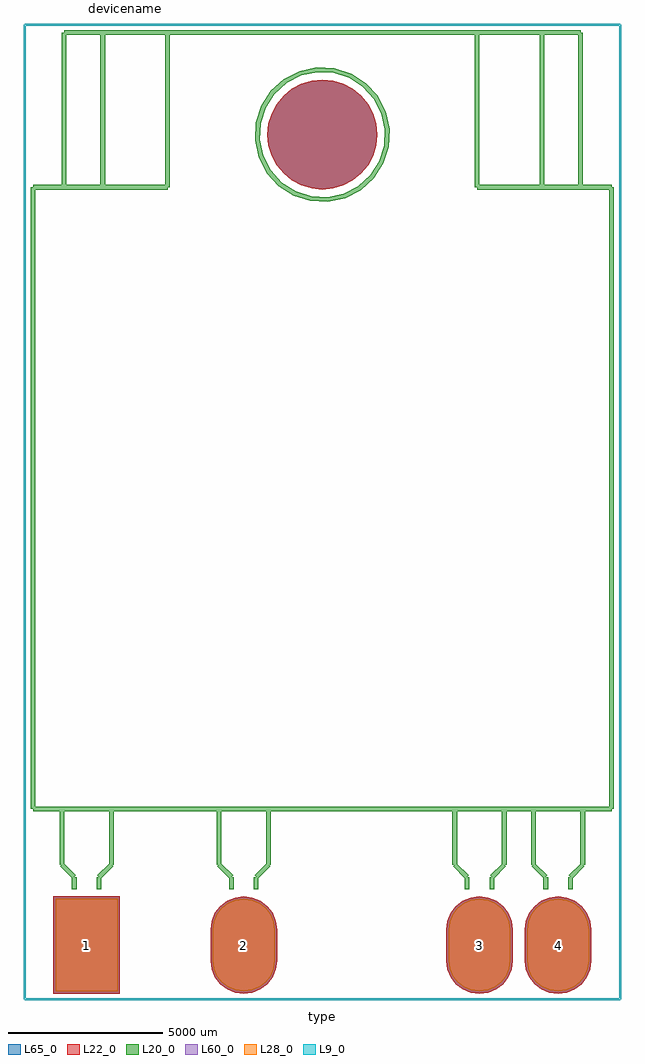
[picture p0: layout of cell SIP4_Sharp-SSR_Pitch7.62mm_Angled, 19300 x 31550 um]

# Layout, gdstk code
import gdstk
lib = gdstk.Library(unit=1e-6, precision=1e-09)
def R(c, l, rs):  # rectangles x0, y0, x1, y1
    for r in rs: c.add(gdstk.rectangle(r[:2], r[2:], *l))
def P(c, l, *ps):  # polygons
    for p in ps: c.add(gdstk.Polygon(p, *l))
L9_0 = (9, 0)
L20_0 = (20, 0)
L22_0 = (22, 0)
L28_0 = (28, 0)
L60_0 = (60, 0)
L65_0 = (65, 0)

sip4_sharp_ssr_pitch7_62 = lib.new_cell('SIP4_Sharp-SSR_Pitch7.62mm_Angled')
R(sip4_sharp_ssr_pitch7_62, L22_0, [(-1075,-1575,1075,1575)])
P(sip4_sharp_ssr_pitch7_62, L22_0, [(9395,26200),(9360.894,26546.285),(9259.886,26879.263),(9095.859,27186.137),(8875.115,27455.115),(8606.137,27675.859),(8299.263,27839.886),(7966.285,27940.894),(7620,27975),(7273.715,27940.894),(6940.737,27839.886),(6633.863,27675.859),(6364.885,27455.115),(6144.141,27186.137),(5980.114,26879.263),(5879.106,26546.285),(5845,26200),(5879.106,25853.715),(5980.114,25520.737),(6144.141,25213.863),(6364.885,24944.885),(6633.863,24724.141),(6940.737,24560.114),(7273.715,24459.106),(7620,24425),(7966.285,24459.106),(8299.263,24560.114),(8606.137,24724.141),(8875.115,24944.885),(9095.859,25213.863),(9259.886,25520.737),(9360.894,25853.715)],
  [(15240,-1575),(15518.23,-1538.37),(15777.5,-1430.977),(16000.14,-1260.14),(16170.977,-1037.5),(16278.37,-778.23),(16315,-500),(16315,500),(16278.37,778.23),(16170.977,1037.5),(16000.14,1260.14),(15777.5,1430.977),(15518.23,1538.37),(15240,1575),(14961.77,1538.37),(14702.5,1430.977),(14479.86,1260.14),(14309.023,1037.5),(14201.63,778.23),(14165,500),(14165,-500),(14201.63,-778.23),(14309.023,-1037.5),(14479.86,-1260.14),(14702.5,-1430.977),(14961.77,-1538.37)],
  [(12700,-1575),(12978.23,-1538.37),(13237.5,-1430.977),(13460.14,-1260.14),(13630.977,-1037.5),(13738.37,-778.23),(13775,-500),(13775,500),(13738.37,778.23),(13630.977,1037.5),(13460.14,1260.14),(13237.5,1430.977),(12978.23,1538.37),(12700,1575),(12421.77,1538.37),(12162.5,1430.977),(11939.86,1260.14),(11769.023,1037.5),(11661.63,778.23),(11625,500),(11625,-500),(11661.63,-778.23),(11769.023,-1037.5),(11939.86,-1260.14),(12162.5,-1430.977),(12421.77,-1538.37)],
  [(5080,-1575),(5358.23,-1538.37),(5617.5,-1430.977),(5840.14,-1260.14),(6010.977,-1037.5),(6118.37,-778.23),(6155,-500),(6155,500),(6118.37,778.23),(6010.977,1037.5),(5840.14,1260.14),(5617.5,1430.977),(5358.23,1538.37),(5080,1575),(4801.77,1538.37),(4542.5,1430.977),(4319.86,1260.14),(4149.023,1037.5),(4041.63,778.23),(4005,500),(4005,-500),(4041.63,-778.23),(4149.023,-1037.5),(4319.86,-1260.14),(4542.5,-1430.977),(4801.77,-1538.37)])
R(sip4_sharp_ssr_pitch7_62, L28_0, [(-1000,-1500,1000,1500)])
P(sip4_sharp_ssr_pitch7_62, L28_0, [(15240,-1500),(15498.819,-1465.926),(15740,-1366.025),(15947.107,-1207.107),(16106.025,-1000),(16205.926,-758.819),(16240,-500),(16240,500),(16205.926,758.819),(16106.025,1000),(15947.107,1207.107),(15740,1366.025),(15498.819,1465.926),(15240,1500),(14981.181,1465.926),(14740,1366.025),(14532.893,1207.107),(14373.975,1000),(14274.074,758.819),(14240,500),(14240,-500),(14274.074,-758.819),(14373.975,-1000),(14532.893,-1207.107),(14740,-1366.025),(14981.181,-1465.926)],
  [(12700,-1500),(12958.819,-1465.926),(13200,-1366.025),(13407.107,-1207.107),(13566.025,-1000),(13665.926,-758.819),(13700,-500),(13700,500),(13665.926,758.819),(13566.025,1000),(13407.107,1207.107),(13200,1366.025),(12958.819,1465.926),(12700,1500),(12441.181,1465.926),(12200,1366.025),(11992.893,1207.107),(11833.975,1000),(11734.074,758.819),(11700,500),(11700,-500),(11734.074,-758.819),(11833.975,-1000),(11992.893,-1207.107),(12200,-1366.025),(12441.181,-1465.926)],
  [(5080,-1500),(5338.819,-1465.926),(5580,-1366.025),(5787.107,-1207.107),(5946.025,-1000),(6045.926,-758.819),(6080,-500),(6080,500),(6045.926,758.819),(5946.025,1000),(5787.107,1207.107),(5580,1366.025),(5338.819,1465.926),(5080,1500),(4821.181,1465.926),(4580,1366.025),(4372.893,1207.107),(4213.975,1000),(4114.074,758.819),(4080,500),(4080,-500),(4114.074,-758.819),(4213.975,-1000),(4372.893,-1207.107),(4580,-1366.025),(4821.181,-1465.926)])
R(sip4_sharp_ssr_pitch7_62, L60_0, [(-1000,-1500,1000,1500)])
P(sip4_sharp_ssr_pitch7_62, L60_0, [(15240,-1500),(15498.819,-1465.926),(15740,-1366.025),(15947.107,-1207.107),(16106.025,-1000),(16205.926,-758.819),(16240,-500),(16240,500),(16205.926,758.819),(16106.025,1000),(15947.107,1207.107),(15740,1366.025),(15498.819,1465.926),(15240,1500),(14981.181,1465.926),(14740,1366.025),(14532.893,1207.107),(14373.975,1000),(14274.074,758.819),(14240,500),(14240,-500),(14274.074,-758.819),(14373.975,-1000),(14532.893,-1207.107),(14740,-1366.025),(14981.181,-1465.926)],
  [(12700,-1500),(12958.819,-1465.926),(13200,-1366.025),(13407.107,-1207.107),(13566.025,-1000),(13665.926,-758.819),(13700,-500),(13700,500),(13665.926,758.819),(13566.025,1000),(13407.107,1207.107),(13200,1366.025),(12958.819,1465.926),(12700,1500),(12441.181,1465.926),(12200,1366.025),(11992.893,1207.107),(11833.975,1000),(11734.074,758.819),(11700,500),(11700,-500),(11734.074,-758.819),(11833.975,-1000),(11992.893,-1207.107),(12200,-1366.025),(12441.181,-1465.926)],
  [(5080,-1500),(5338.819,-1465.926),(5580,-1366.025),(5787.107,-1207.107),(5946.025,-1000),(6045.926,-758.819),(6080,-500),(6080,500),(6045.926,758.819),(5946.025,1000),(5787.107,1207.107),(5580,1366.025),(5338.819,1465.926),(5080,1500),(4821.181,1465.926),(4580,1366.025),(4372.893,1207.107),(4213.975,1000),(4114.074,758.819),(4080,500),(4080,-500),(4114.074,-758.819),(4213.975,-1000),(4372.893,-1207.107),(4580,-1366.025),(4821.181,-1465.926)])
R(sip4_sharp_ssr_pitch7_62, L65_0, [(-1075,-1575,1075,1575)])
P(sip4_sharp_ssr_pitch7_62, L65_0, [(9395,26200),(9360.894,26546.285),(9259.886,26879.263),(9095.859,27186.137),(8875.115,27455.115),(8606.137,27675.859),(8299.263,27839.886),(7966.285,27940.894),(7620,27975),(7273.715,27940.894),(6940.737,27839.886),(6633.863,27675.859),(6364.885,27455.115),(6144.141,27186.137),(5980.114,26879.263),(5879.106,26546.285),(5845,26200),(5879.106,25853.715),(5980.114,25520.737),(6144.141,25213.863),(6364.885,24944.885),(6633.863,24724.141),(6940.737,24560.114),(7273.715,24459.106),(7620,24425),(7966.285,24459.106),(8299.263,24560.114),(8606.137,24724.141),(8875.115,24944.885),(9095.859,25213.863),(9259.886,25520.737),(9360.894,25853.715)],
  [(15240,-1575),(15518.23,-1538.37),(15777.5,-1430.977),(16000.14,-1260.14),(16170.977,-1037.5),(16278.37,-778.23),(16315,-500),(16315,500),(16278.37,778.23),(16170.977,1037.5),(16000.14,1260.14),(15777.5,1430.977),(15518.23,1538.37),(15240,1575),(14961.77,1538.37),(14702.5,1430.977),(14479.86,1260.14),(14309.023,1037.5),(14201.63,778.23),(14165,500),(14165,-500),(14201.63,-778.23),(14309.023,-1037.5),(14479.86,-1260.14),(14702.5,-1430.977),(14961.77,-1538.37)],
  [(12700,-1575),(12978.23,-1538.37),(13237.5,-1430.977),(13460.14,-1260.14),(13630.977,-1037.5),(13738.37,-778.23),(13775,-500),(13775,500),(13738.37,778.23),(13630.977,1037.5),(13460.14,1260.14),(13237.5,1430.977),(12978.23,1538.37),(12700,1575),(12421.77,1538.37),(12162.5,1430.977),(11939.86,1260.14),(11769.023,1037.5),(11661.63,778.23),(11625,500),(11625,-500),(11661.63,-778.23),(11769.023,-1037.5),(11939.86,-1260.14),(12162.5,-1430.977),(12421.77,-1538.37)],
  [(5080,-1575),(5358.23,-1538.37),(5617.5,-1430.977),(5840.14,-1260.14),(6010.977,-1037.5),(6118.37,-778.23),(6155,-500),(6155,500),(6118.37,778.23),(6010.977,1037.5),(5840.14,1260.14),(5617.5,1430.977),(5358.23,1538.37),(5080,1575),(4801.77,1538.37),(4542.5,1430.977),(4319.86,1260.14),(4149.023,1037.5),(4041.63,778.23),(4005,500),(4005,-500),(4041.63,-778.23),(4149.023,-1037.5),(4319.86,-1260.14),(4542.5,-1430.977),(4801.77,-1538.37)])
sip4_sharp_ssr_pitch7_62.add(gdstk.FlexPath([(-1730,4400),(-1730,24500)], 149.998, ends="flush", simple_path=True, layer=20, datatype=0))  # L20_0
sip4_sharp_ssr_pitch7_62.add(gdstk.FlexPath([(16970,4400),(-1730,4400)], 149.998, ends="flush", simple_path=True, layer=20, datatype=0))  # L20_0
sip4_sharp_ssr_pitch7_62.add(gdstk.FlexPath([(16970,24500),(16970,4400)], 149.998, ends="flush", simple_path=True, layer=20, datatype=0))  # L20_0
sip4_sharp_ssr_pitch7_62.add(gdstk.FlexPath([(-730,29500),(15970,29500)], 149.998, ends="flush", simple_path=True, layer=20, datatype=0))  # L20_0
sip4_sharp_ssr_pitch7_62.add(gdstk.FlexPath([(-1730,24500),(2620,24500)], 149.998, ends="flush", simple_path=True, layer=20, datatype=0))  # L20_0
sip4_sharp_ssr_pitch7_62.add(gdstk.FlexPath([(15970,24500),(15970,29500)], 149.998, ends="flush", simple_path=True, layer=20, datatype=0))  # L20_0
sip4_sharp_ssr_pitch7_62.add(gdstk.FlexPath([(-730,24500),(-730,29500)], 149.998, ends="flush", simple_path=True, layer=20, datatype=0))  # L20_0
sip4_sharp_ssr_pitch7_62.add(gdstk.FlexPath([(-2000,29750),(17250,29750)], 50, ends="flush", simple_path=True, layer=9, datatype=0))  # L9_0
sip4_sharp_ssr_pitch7_62.add(gdstk.FlexPath([(-2000,-1750),(-2000,29750)], 50, ends="flush", simple_path=True, layer=9, datatype=0))  # L9_0
sip4_sharp_ssr_pitch7_62.add(gdstk.FlexPath([(17250,-1750),(-2000,-1750)], 50, ends="flush", simple_path=True, layer=9, datatype=0))  # L9_0
sip4_sharp_ssr_pitch7_62.add(gdstk.FlexPath([(17250,29750),(17250,-1750)], 50, ends="flush", simple_path=True, layer=9, datatype=0))  # L9_0
sip4_sharp_ssr_pitch7_62.add(gdstk.FlexPath([(12620,29500),(12620,24500)], 149.998, ends="flush", simple_path=True, layer=20, datatype=0))  # L20_0
sip4_sharp_ssr_pitch7_62.add(gdstk.FlexPath([(2620,29500),(2620,24500)], 149.998, ends="flush", simple_path=True, layer=20, datatype=0))  # L20_0
sip4_sharp_ssr_pitch7_62.add(gdstk.FlexPath([(9350,27400),(8980.469,27806.868),(8518.224,28104.23),(7994.767,28271.823),(7445.77,28298.224),(6908.646,28181.635),(6420,27930),(6013.132,27560.469),(5715.77,27098.224),(5548.177,26574.767),(5521.776,26025.77),(5638.365,25488.646),(5890,25000),(6259.531,24593.132),(6721.776,24295.77),(7245.233,24128.177),(7794.23,24101.776),(8331.354,24218.365),(8820,24470),(9226.868,24839.531),(9524.23,25301.776),(9691.823,25825.233),(9718.224,26374.23),(9601.635,26911.354),(9350,27400)], 149.998, ends="flush", simple_path=True, layer=20, datatype=0))  # L20_0
sip4_sharp_ssr_pitch7_62.add(gdstk.FlexPath([(12620,24500),(16970,24500)], 149.998, ends="flush", simple_path=True, layer=20, datatype=0))  # L20_0
sip4_sharp_ssr_pitch7_62.add(gdstk.FlexPath([(14720,24500),(14720,29500)], 149.998, ends="flush", simple_path=True, layer=20, datatype=0))  # L20_0
sip4_sharp_ssr_pitch7_62.add(gdstk.FlexPath([(520,24500),(520,29500)], 149.998, ends="flush", simple_path=True, layer=20, datatype=0))  # L20_0
sip4_sharp_ssr_pitch7_62.add(gdstk.FlexPath([(-800,3200),(-800,4400)], 149.998, ends="flush", simple_path=True, layer=20, datatype=0))  # L20_0
sip4_sharp_ssr_pitch7_62.add(gdstk.FlexPath([(400,2200),(800,2600)], 149.998, ends="flush", simple_path=True, layer=20, datatype=0))  # L20_0
sip4_sharp_ssr_pitch7_62.add(gdstk.FlexPath([(-800,2600),(-800,3200)], 149.998, ends="flush", simple_path=True, layer=20, datatype=0))  # L20_0
sip4_sharp_ssr_pitch7_62.add(gdstk.FlexPath([(-400,2200),(-800,2600)], 149.998, ends="flush", simple_path=True, layer=20, datatype=0))  # L20_0
sip4_sharp_ssr_pitch7_62.add(gdstk.FlexPath([(-400,2200),(-400,1800)], 149.998, ends="flush", simple_path=True, layer=20, datatype=0))  # L20_0
sip4_sharp_ssr_pitch7_62.add(gdstk.FlexPath([(400,1800),(400,2200)], 149.998, ends="flush", simple_path=True, layer=20, datatype=0))  # L20_0
sip4_sharp_ssr_pitch7_62.add(gdstk.FlexPath([(800,2600),(800,4400)], 149.998, ends="flush", simple_path=True, layer=20, datatype=0))  # L20_0
sip4_sharp_ssr_pitch7_62.add(gdstk.FlexPath([(800,2600),(800,4400)], 149.998, ends="flush", simple_path=True, layer=20, datatype=0))  # L20_0
sip4_sharp_ssr_pitch7_62.add(gdstk.FlexPath([(400,1800),(400,2200)], 149.998, ends="flush", simple_path=True, layer=20, datatype=0))  # L20_0
sip4_sharp_ssr_pitch7_62.add(gdstk.FlexPath([(-400,2200),(-400,1800)], 149.998, ends="flush", simple_path=True, layer=20, datatype=0))  # L20_0
sip4_sharp_ssr_pitch7_62.add(gdstk.FlexPath([(-400,2200),(-800,2600)], 149.998, ends="flush", simple_path=True, layer=20, datatype=0))  # L20_0
sip4_sharp_ssr_pitch7_62.add(gdstk.FlexPath([(-800,2600),(-800,3200)], 149.998, ends="flush", simple_path=True, layer=20, datatype=0))  # L20_0
sip4_sharp_ssr_pitch7_62.add(gdstk.FlexPath([(400,2200),(800,2600)], 149.998, ends="flush", simple_path=True, layer=20, datatype=0))  # L20_0
sip4_sharp_ssr_pitch7_62.add(gdstk.FlexPath([(-800,3200),(-800,4400)], 149.998, ends="flush", simple_path=True, layer=20, datatype=0))  # L20_0
sip4_sharp_ssr_pitch7_62.add(gdstk.FlexPath([(4280,3200),(4280,4400)], 149.998, ends="flush", simple_path=True, layer=20, datatype=0))  # L20_0
sip4_sharp_ssr_pitch7_62.add(gdstk.FlexPath([(5480,2200),(5880,2600)], 149.998, ends="flush", simple_path=True, layer=20, datatype=0))  # L20_0
sip4_sharp_ssr_pitch7_62.add(gdstk.FlexPath([(4280,2600),(4280,3200)], 149.998, ends="flush", simple_path=True, layer=20, datatype=0))  # L20_0
sip4_sharp_ssr_pitch7_62.add(gdstk.FlexPath([(4680,2200),(4280,2600)], 149.998, ends="flush", simple_path=True, layer=20, datatype=0))  # L20_0
sip4_sharp_ssr_pitch7_62.add(gdstk.FlexPath([(4680,2200),(4680,1800)], 149.998, ends="flush", simple_path=True, layer=20, datatype=0))  # L20_0
sip4_sharp_ssr_pitch7_62.add(gdstk.FlexPath([(5480,1800),(5480,2200)], 149.998, ends="flush", simple_path=True, layer=20, datatype=0))  # L20_0
sip4_sharp_ssr_pitch7_62.add(gdstk.FlexPath([(5880,2600),(5880,4400)], 149.998, ends="flush", simple_path=True, layer=20, datatype=0))  # L20_0
sip4_sharp_ssr_pitch7_62.add(gdstk.FlexPath([(5880,2600),(5880,4400)], 149.998, ends="flush", simple_path=True, layer=20, datatype=0))  # L20_0
sip4_sharp_ssr_pitch7_62.add(gdstk.FlexPath([(5480,1800),(5480,2200)], 149.998, ends="flush", simple_path=True, layer=20, datatype=0))  # L20_0
sip4_sharp_ssr_pitch7_62.add(gdstk.FlexPath([(4680,2200),(4680,1800)], 149.998, ends="flush", simple_path=True, layer=20, datatype=0))  # L20_0
sip4_sharp_ssr_pitch7_62.add(gdstk.FlexPath([(4680,2200),(4280,2600)], 149.998, ends="flush", simple_path=True, layer=20, datatype=0))  # L20_0
sip4_sharp_ssr_pitch7_62.add(gdstk.FlexPath([(4280,2600),(4280,3200)], 149.998, ends="flush", simple_path=True, layer=20, datatype=0))  # L20_0
sip4_sharp_ssr_pitch7_62.add(gdstk.FlexPath([(5480,2200),(5880,2600)], 149.998, ends="flush", simple_path=True, layer=20, datatype=0))  # L20_0
sip4_sharp_ssr_pitch7_62.add(gdstk.FlexPath([(4280,3200),(4280,4400)], 149.998, ends="flush", simple_path=True, layer=20, datatype=0))  # L20_0
sip4_sharp_ssr_pitch7_62.add(gdstk.FlexPath([(11900,3200),(11900,4400)], 149.998, ends="flush", simple_path=True, layer=20, datatype=0))  # L20_0
sip4_sharp_ssr_pitch7_62.add(gdstk.FlexPath([(13100,2200),(13500,2600)], 149.998, ends="flush", simple_path=True, layer=20, datatype=0))  # L20_0
sip4_sharp_ssr_pitch7_62.add(gdstk.FlexPath([(11900,2600),(11900,3200)], 149.998, ends="flush", simple_path=True, layer=20, datatype=0))  # L20_0
sip4_sharp_ssr_pitch7_62.add(gdstk.FlexPath([(12300,2200),(11900,2600)], 149.998, ends="flush", simple_path=True, layer=20, datatype=0))  # L20_0
sip4_sharp_ssr_pitch7_62.add(gdstk.FlexPath([(12300,2200),(12300,1800)], 149.998, ends="flush", simple_path=True, layer=20, datatype=0))  # L20_0
sip4_sharp_ssr_pitch7_62.add(gdstk.FlexPath([(13100,1800),(13100,2200)], 149.998, ends="flush", simple_path=True, layer=20, datatype=0))  # L20_0
sip4_sharp_ssr_pitch7_62.add(gdstk.FlexPath([(13500,2600),(13500,4400)], 149.998, ends="flush", simple_path=True, layer=20, datatype=0))  # L20_0
sip4_sharp_ssr_pitch7_62.add(gdstk.FlexPath([(13500,2600),(13500,4400)], 149.998, ends="flush", simple_path=True, layer=20, datatype=0))  # L20_0
sip4_sharp_ssr_pitch7_62.add(gdstk.FlexPath([(13100,1800),(13100,2200)], 149.998, ends="flush", simple_path=True, layer=20, datatype=0))  # L20_0
sip4_sharp_ssr_pitch7_62.add(gdstk.FlexPath([(12300,2200),(12300,1800)], 149.998, ends="flush", simple_path=True, layer=20, datatype=0))  # L20_0
sip4_sharp_ssr_pitch7_62.add(gdstk.FlexPath([(12300,2200),(11900,2600)], 149.998, ends="flush", simple_path=True, layer=20, datatype=0))  # L20_0
sip4_sharp_ssr_pitch7_62.add(gdstk.FlexPath([(11900,2600),(11900,3200)], 149.998, ends="flush", simple_path=True, layer=20, datatype=0))  # L20_0
sip4_sharp_ssr_pitch7_62.add(gdstk.FlexPath([(13100,2200),(13500,2600)], 149.998, ends="flush", simple_path=True, layer=20, datatype=0))  # L20_0
sip4_sharp_ssr_pitch7_62.add(gdstk.FlexPath([(11900,3200),(11900,4400)], 149.998, ends="flush", simple_path=True, layer=20, datatype=0))  # L20_0
sip4_sharp_ssr_pitch7_62.add(gdstk.FlexPath([(14440,3200),(14440,4400)], 149.998, ends="flush", simple_path=True, layer=20, datatype=0))  # L20_0
sip4_sharp_ssr_pitch7_62.add(gdstk.FlexPath([(15640,2200),(16040,2600)], 149.998, ends="flush", simple_path=True, layer=20, datatype=0))  # L20_0
sip4_sharp_ssr_pitch7_62.add(gdstk.FlexPath([(14440,2600),(14440,3200)], 149.998, ends="flush", simple_path=True, layer=20, datatype=0))  # L20_0
sip4_sharp_ssr_pitch7_62.add(gdstk.FlexPath([(14840,2200),(14440,2600)], 149.998, ends="flush", simple_path=True, layer=20, datatype=0))  # L20_0
sip4_sharp_ssr_pitch7_62.add(gdstk.FlexPath([(14840,2200),(14840,1800)], 149.998, ends="flush", simple_path=True, layer=20, datatype=0))  # L20_0
sip4_sharp_ssr_pitch7_62.add(gdstk.FlexPath([(15640,1800),(15640,2200)], 149.998, ends="flush", simple_path=True, layer=20, datatype=0))  # L20_0
sip4_sharp_ssr_pitch7_62.add(gdstk.FlexPath([(16040,2600),(16040,4400)], 149.998, ends="flush", simple_path=True, layer=20, datatype=0))  # L20_0
sip4_sharp_ssr_pitch7_62.add(gdstk.FlexPath([(16040,2600),(16040,4400)], 149.998, ends="flush", simple_path=True, layer=20, datatype=0))  # L20_0
sip4_sharp_ssr_pitch7_62.add(gdstk.FlexPath([(15640,1800),(15640,2200)], 149.998, ends="flush", simple_path=True, layer=20, datatype=0))  # L20_0
sip4_sharp_ssr_pitch7_62.add(gdstk.FlexPath([(14840,2200),(14840,1800)], 149.998, ends="flush", simple_path=True, layer=20, datatype=0))  # L20_0
sip4_sharp_ssr_pitch7_62.add(gdstk.FlexPath([(14840,2200),(14440,2600)], 149.998, ends="flush", simple_path=True, layer=20, datatype=0))  # L20_0
sip4_sharp_ssr_pitch7_62.add(gdstk.FlexPath([(14440,2600),(14440,3200)], 149.998, ends="flush", simple_path=True, layer=20, datatype=0))  # L20_0
sip4_sharp_ssr_pitch7_62.add(gdstk.FlexPath([(15640,2200),(16040,2600)], 149.998, ends="flush", simple_path=True, layer=20, datatype=0))  # L20_0
sip4_sharp_ssr_pitch7_62.add(gdstk.FlexPath([(14440,3200),(14440,4400)], 149.998, ends="flush", simple_path=True, layer=20, datatype=0))  # L20_0
sip4_sharp_ssr_pitch7_62.add(gdstk.Label('4', (15240,0), layer=28, texttype=0))
sip4_sharp_ssr_pitch7_62.add(gdstk.Label('3', (12700,0), layer=28, texttype=0))
sip4_sharp_ssr_pitch7_62.add(gdstk.Label('2', (5080,0), layer=28, texttype=0))
sip4_sharp_ssr_pitch7_62.add(gdstk.Label('1', (0,0), layer=28, texttype=0))
sip4_sharp_ssr_pitch7_62.add(gdstk.Label('type', (7620,-2500), layer=9, texttype=0))
sip4_sharp_ssr_pitch7_62.add(gdstk.Label('devicename', (1270,30480), layer=9, texttype=0))

lib.write_gds('SIP4_Sharp-SSR_Pitch7.62mm_Angled.gds')
